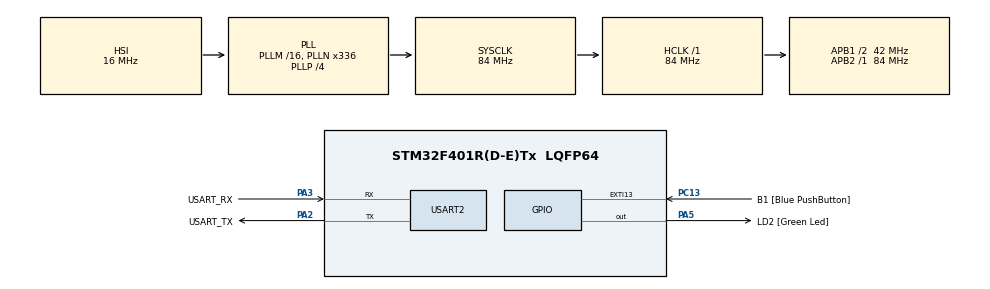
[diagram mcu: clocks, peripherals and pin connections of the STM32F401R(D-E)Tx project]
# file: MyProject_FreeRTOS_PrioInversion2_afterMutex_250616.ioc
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FREERTOS.Tasks01=defaultTask,24,128,StartDefaultTask,Default,NULL,Dynamic,NULL,NULL
Mcu.Family=STM32F4
Mcu.Name=STM32F401R(D-E)Tx
Mcu.Package=LQFP64
NVIC.PriorityGroup=NVIC_PRIORITYGROUP_4
PA13.GPIO_Label=TMS
PA13.Mode=Trace_Asynchronous_SW
PA13.Signal=SYS_JTMS-SWDIO
PA14.GPIO_Label=TCK
PA14.Mode=Trace_Asynchronous_SW
PA14.Signal=SYS_JTCK-SWCLK
PA2.GPIO_Label=USART_TX
PA2.GPIO_Mode=GPIO_MODE_AF_PP
PA2.GPIO_PuPd=GPIO_NOPULL
PA2.GPIO_Speed=GPIO_SPEED_FREQ_LOW
PA2.Mode=Asynchronous
PA2.Signal=USART2_TX
PA3.GPIO_Label=USART_RX
PA3.GPIO_Mode=GPIO_MODE_AF_PP
PA3.GPIO_PuPd=GPIO_NOPULL
PA3.GPIO_Speed=GPIO_SPEED_FREQ_LOW
PA3.Mode=Asynchronous
PA3.Signal=USART2_RX
PA5.GPIO_Label=LD2 [Green Led]
PA5.GPIO_Mode=GPIO_MODE_OUTPUT_PP
PA5.GPIO_PuPd=GPIO_NOPULL
PA5.GPIO_Speed=GPIO_SPEED_FREQ_LOW
PA5.Signal=GPIO_Output
PB3.GPIO_Label=SWO
PB3.Mode=Trace_Asynchronous_SW
PB3.Signal=SYS_JTDO-SWO
PC13-ANTI_TAMP.GPIO_Label=B1 [Blue PushButton]
PC13-ANTI_TAMP.GPIO_ModeDefaultEXTI=GPIO_MODE_IT_FALLING
PC13-ANTI_TAMP.GPIO_PuPd=GPIO_NOPULL
PC13-ANTI_TAMP.Signal=GPXTI13
PC14-OSC32_IN.Mode=LSE-External-Oscillator
PC14-OSC32_IN.Signal=RCC_OSC32_IN
PC15-OSC32_OUT.Mode=LSE-External-Oscillator
PC15-OSC32_OUT.Signal=RCC_OSC32_OUT
PH0\ -\ OSC_IN.Mode=HSE-External-Clock-Source
PH0\ -\ OSC_IN.Signal=RCC_OSC_IN
PH1\ -\ OSC_OUT.Mode=HSE-External-Clock-Source
PH1\ -\ OSC_OUT.Signal=RCC_OSC_OUT
ProjectManager.HeapSize=0x200
ProjectManager.StackSize=0x400
ProjectManager.TargetToolchain=STM32CubeIDE
RCC.48MHZClocksFreq_Value=48000000
RCC.AHBFreq_Value=84000000
RCC.APB1CLKDivider=RCC_HCLK_DIV2
RCC.APB1Freq_Value=42000000
RCC.APB1TimFreq_Value=84000000
RCC.APB2Freq_Value=84000000
RCC.APB2TimFreq_Value=84000000
RCC.CortexFreq_Value=84000000
RCC.HCLKFreq_Value=84000000
RCC.HSE_VALUE=8000000
RCC.HSI_VALUE=16000000
RCC.PLLN=336
RCC.PLLP=RCC_PLLP_DIV4
RCC.PLLQ=7
RCC.SYSCLKFreq_VALUE=84000000
RCC.SYSCLKSource=RCC_SYSCLKSOURCE_PLLCLK
RCC.VCOOutputFreq_Value=336000000
USART2.VirtualMode=VM_ASYNC
VP_FREERTOS_VS_CMSIS_V2.Mode=CMSIS_V2
board=NUCLEO-F401RE

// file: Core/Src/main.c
/* USER CODE BEGIN Header */

///////////////////////////////////////////////////////////// MUTEX가 적용되어 우선순위 다른 3명의 직원이 규칙에 맞게 하나의 복사기를 쓰려는 상황 ////

/**
  ******************************************************************************
  * @file           : main.c
  * @brief          : Main program body
  ******************************************************************************
  * @attention
  *
  * Copyright (c) 2025 STMicroelectronics.
  * All rights reserved.
  *
  * This software is licensed under terms that can be found in the LICENSE file
  * in the root directory of this software component.
  * If no LICENSE file comes with this software, it is provided AS-IS.
  *
  ******************************************************************************
  */
/* USER CODE END Header */
#include "main.h"
#include "cmsis_os.h"

/* USER CODE BEGIN Includes */
#include <stdio.h>
#include <string.h>
/* USER CODE END Includes */

UART_HandleTypeDef huart2;

/* Definitions for defaultTask */
osThreadId_t defaultTaskHandle;
const osThreadAttr_t defaultTask_attributes = {
  .name = "defaultTask",
  .stack_size = 128 * 4,
  .priority = (osPriority_t) osPriorityNormal,
};
/* USER CODE BEGIN PV */
osMutexId_t uartMutexHandle; // UART 출력을 보호할 뮤텍스 핸들
/* USER CODE END PV */

void SystemClock_Config(void);
static void MX_GPIO_Init(void);
static void MX_USART2_UART_Init(void);
void StartDefaultTask(void *argument);

/* USER CODE BEGIN 0 */

// 높은 우선순위 작업 (뮤텍스 사용)
void HighPrioTask(void *argument)
{
  char *msg = "## HIGH PRIORITY TASK ##\r\n";
  for(;;)
  {
    // 1. 뮤텍스를 획득 (열쇠를 가져옴)
    if (osMutexAcquire(uartMutexHandle, osWaitForever) == osOK)
    {
      // --- 임계 영역 시작 ---
      for (int i = 0; i < strlen(msg); i++)
      {
        HAL_UART_Transmit(&huart2, (uint8_t *)&msg[i], 1, 100);
        osDelay(5);
      }
      // --- 임계 영역 끝 ---

      // 2. 뮤텍스 반납 (열쇠를 제자리에)
      osMutexRelease(uartMutexHandle);
    }
    osDelay(1000);
  }
}

// 중간 우선순위 작업 (뮤텍스 사용)
void MediumPrioTask(void *argument)
{
  char *msg = "== MEDIUM PRIORITY TASK ==\r\n";
  for(;;)
  {
    if (osMutexAcquire(uartMutexHandle, osWaitForever) == osOK)
    {
      for (int i = 0; i < strlen(msg); i++)
      {
        HAL_UART_Transmit(&huart2, (uint8_t *)&msg[i], 1, 100);
        osDelay(5);
      }
      osMutexRelease(uartMutexHandle);
    }
    osDelay(1000);
  }
}

// 낮은 우선순위 작업 (뮤텍스 사용)
void LowPrioTask(void *argument)
{
  char *msg = "--- low priority task ---\r\n";
  for(;;)
  {
    if (osMutexAcquire(uartMutexHandle, osWaitForever) == osOK)
    {
      for (int i = 0; i < strlen(msg); i++)
      {
        HAL_UART_Transmit(&huart2, (uint8_t *)&msg[i], 1, 100);
        osDelay(5);
      }
      osMutexRelease(uartMutexHandle);
    }
    osDelay(1000);
  }
}

/* USER CODE END 0 */

int main(void)
{

  /* MCU Configuration--------------------------------------------------------*/

  /* Reset of all peripherals, Initializes the Flash interface and the Systick. */
  HAL_Init();

  /* Configure the system clock */
  SystemClock_Config();

  /* Initialize all configured peripherals */
  MX_GPIO_Init();
  MX_USART2_UART_Init();

  /* Init scheduler */
  osKernelInitialize();

  /* USER CODE BEGIN RTOS_MUTEX */
  // [수정] 뮤텍스를 생성합니다.
  const osMutexAttr_t UartMutex_attributes = {
    .name = "uartMutex"
  };
  uartMutexHandle = osMutexNew(&UartMutex_attributes);
  /* USER CODE END RTOS_MUTEX */

  /* Create the thread(s) */
  /* creation of defaultTask */
  defaultTaskHandle = osThreadNew(StartDefaultTask, NULL, &defaultTask_attributes);

  /* USER CODE BEGIN RTOS_THREADS */
  // LowPrioTask 생성 (우선순위: 낮음)
  const osThreadAttr_t lowPrioTask_attributes = {
    .name = "LowPrioTask",
    .stack_size = 256 * 4,
    .priority = (osPriority_t) osPriorityLow,
  };
  osThreadNew(LowPrioTask, NULL, &lowPrioTask_attributes);

  // MediumPrioTask 생성 (우선순위: 중간)
  const osThreadAttr_t mediumPrioTask_attributes = {
    .name = "MediumPrioTask",
    .stack_size = 256 * 4,
    .priority = (osPriority_t) osPriorityNormal,
  };
  osThreadNew(MediumPrioTask, NULL, &mediumPrioTask_attributes);

  // HighPrioTask 생성 (우선순위: 높음)
  const osThreadAttr_t highPrioTask_attributes = {
    .name = "HighPrioTask",
    .stack_size = 256 * 4,
    .priority = (osPriority_t) osPriorityHigh,
  };
  osThreadNew(HighPrioTask, NULL, &highPrioTask_attributes);
  /* USER CODE END RTOS_THREADS */

  /* Start scheduler */
  osKernelStart();

  /* We should never get here as control is now taken by the scheduler */

  /* Infinite loop */
  while (1)
  {

  }
}

void SystemClock_Config(void)
{
  RCC_OscInitTypeDef RCC_OscInitStruct = {0};
  RCC_ClkInitTypeDef RCC_ClkInitStruct = {0};

  /** Configure the main internal regulator output voltage
  */
  __HAL_RCC_PWR_CLK_ENABLE();
  __HAL_PWR_VOLTAGESCALING_CONFIG(PWR_REGULATOR_VOLTAGE_SCALE2);

  /** Initializes the RCC Oscillators according to the specified parameters
  * in the RCC_OscInitTypeDef structure.
  */
  RCC_OscInitStruct.OscillatorType = RCC_OSCILLATORTYPE_HSI;
  RCC_OscInitStruct.HSIState = RCC_HSI_ON;
  RCC_OscInitStruct.HSICalibrationValue = RCC_HSICALIBRATION_DEFAULT;
  RCC_OscInitStruct.PLL.PLLState = RCC_PLL_ON;
  RCC_OscInitStruct.PLL.PLLSource = RCC_PLLSOURCE_HSI;
  RCC_OscInitStruct.PLL.PLLM = 16;
  RCC_OscInitStruct.PLL.PLLN = 336;
  RCC_OscInitStruct.PLL.PLLP = RCC_PLLP_DIV4;
  RCC_OscInitStruct.PLL.PLLQ = 7;
  if (HAL_RCC_OscConfig(&RCC_OscInitStruct) != HAL_OK)
  {
    Error_Handler();
  }

  /** Initializes the CPU, AHB and APB buses clocks
  */
  RCC_ClkInitStruct.ClockType = RCC_CLOCKTYPE_HCLK|RCC_CLOCKTYPE_SYSCLK
                              |RCC_CLOCKTYPE_PCLK1|RCC_CLOCKTYPE_PCLK2;
  RCC_ClkInitStruct.SYSCLKSource = RCC_SYSCLKSOURCE_PLLCLK;
  RCC_ClkInitStruct.AHBCLKDivider = RCC_SYSCLK_DIV1;
  RCC_ClkInitStruct.APB1CLKDivider = RCC_HCLK_DIV2;
  RCC_ClkInitStruct.APB2CLKDivider = RCC_HCLK_DIV1;

  if (HAL_RCC_ClockConfig(&RCC_ClkInitStruct, FLASH_LATENCY_2) != HAL_OK)
  {
    Error_Handler();
  }
}

static void MX_USART2_UART_Init(void)
{

  huart2.Instance = USART2;
  huart2.Init.BaudRate = 115200;
  huart2.Init.WordLength = UART_WORDLENGTH_8B;
  huart2.Init.StopBits = UART_STOPBITS_1;
  huart2.Init.Parity = UART_PARITY_NONE;
  huart2.Init.Mode = UART_MODE_TX_RX;
  huart2.Init.HwFlowCtl = UART_HWCONTROL_NONE;
  huart2.Init.OverSampling = UART_OVERSAMPLING_16;
  if (HAL_UART_Init(&huart2) != HAL_OK)
  {
    Error_Handler();
  }

}

static void MX_GPIO_Init(void)
{
  GPIO_InitTypeDef GPIO_InitStruct = {0};

  /* GPIO Ports Clock Enable */
  __HAL_RCC_GPIOC_CLK_ENABLE();
  __HAL_RCC_GPIOH_CLK_ENABLE();
  __HAL_RCC_GPIOA_CLK_ENABLE();
  __HAL_RCC_GPIOB_CLK_ENABLE();

  /*Configure GPIO pin Output Level */
  HAL_GPIO_WritePin(LD2_GPIO_Port, LD2_Pin, GPIO_PIN_RESET);

  /*Configure GPIO pin : B1_Pin */
  GPIO_InitStruct.Pin = B1_Pin;
  GPIO_InitStruct.Mode = GPIO_MODE_IT_FALLING;
  GPIO_InitStruct.Pull = GPIO_NOPULL;
  HAL_GPIO_Init(B1_GPIO_Port, &GPIO_InitStruct);

  /*Configure GPIO pin : LD2_Pin */
  GPIO_InitStruct.Pin = LD2_Pin;
  GPIO_InitStruct.Mode = GPIO_MODE_OUTPUT_PP;
  GPIO_InitStruct.Pull = GPIO_NOPULL;
  GPIO_InitStruct.Speed = GPIO_SPEED_FREQ_LOW;
  HAL_GPIO_Init(LD2_GPIO_Port, &GPIO_InitStruct);

}

void StartDefaultTask(void *argument)
{
  for(;;)
  {
    osDelay(1);
  }
}

void Error_Handler(void)
{
  __disable_irq();
  while (1)
  {
  }
}
